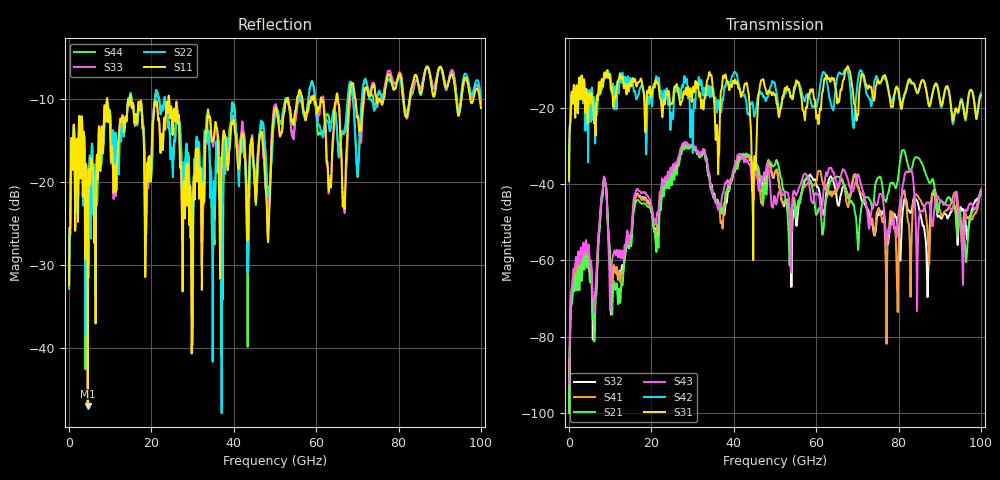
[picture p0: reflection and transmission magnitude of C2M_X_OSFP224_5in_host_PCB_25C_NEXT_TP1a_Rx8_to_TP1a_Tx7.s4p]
# GHz S RI R 45
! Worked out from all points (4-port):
!   4000 points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, 25 MHz to 100 GHz, reference 45 ohm
!   strongest paths, dB at 25 MHz, 25.02 GHz, 50.02 GHz, 75.03 GHz, 100 GHz:
!     S31: -38.9, -18.6, -16.3, -12.7, -16.6
!     S42: -39.3, -21.2, -13.8, -12.5, -15.9
!     S43: -92.5, -36.4, -43.8, -44.6, -41.3
!     S21: -89.3, -39.3, -34.8, -38.3, -42.6
!     S41: -92.6, -37.8, -36.7, -46.6, -41.6
!     S32: -91.8, -38.1, -36.8, -47.6, -41.9
!   lowest |S11| = -46.9 dB at 4.55 GHz (marker M1), VSWR 1.01, Z = 44.6 + j0.0781 ohm
!   |S11| at or under -10 dB: start of sweep to 9.171 GHz; 15.07 GHz to 24.11 GHz (9.035 GHz wide, 46.1 % of centre); 24.32 GHz to 52.99 GHz (28.67 GHz wide, 74.2 % of centre) (the widest 3 of 17)
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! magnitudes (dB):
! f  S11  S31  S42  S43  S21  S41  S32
! 25 MHz  -32.4  -38.9  -39.3  -92.5  -89.3  -92.6  -91.8
! 4.55 GHz  -46.9  -24.1  -23.3  -57.5  -60.9  -59.3  -60.4
! 28.43 GHz  -17.8  -14.8  -12.8  -29.3  -30.6  -30.1  -29.8
! 43.02 GHz  -20.4  -13.4  -18.0  -34.0  -31.9  -32.7  -32.5
! 44.88 GHz  -18.2  -36.2  -21.7  -38.6  -38.7  -41.1  -39.6
! 46.88 GHz  -14.2  -12.5  -16.0  -37.9  -41.7  -44.8  -38.6
! 100 GHz  -11.0  -16.6  -15.9  -41.3  -42.6  -41.6  -41.9
